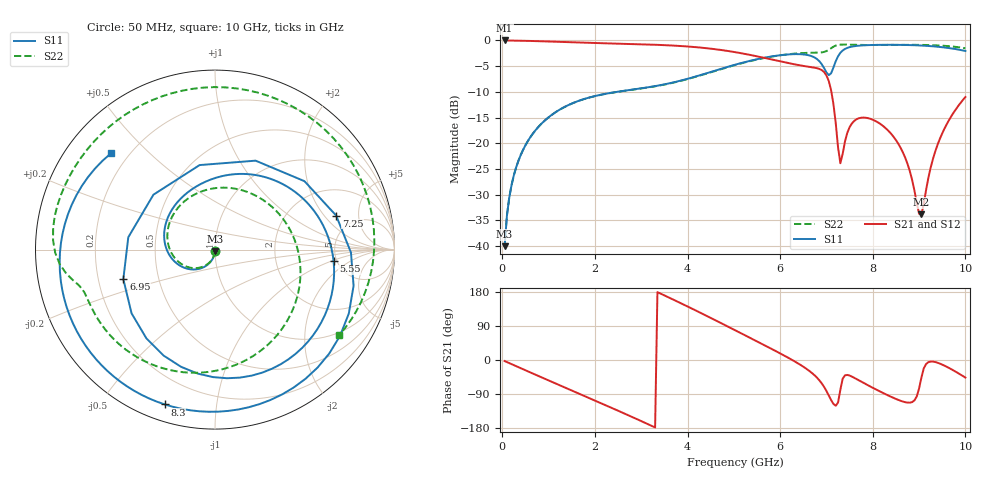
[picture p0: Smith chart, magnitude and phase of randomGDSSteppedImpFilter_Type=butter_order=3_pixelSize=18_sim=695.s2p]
! freq	dB(S11)	phase(S11)	dB(S12)	phase(S12)
!  dB(S21)	phase(S21)	dB(S22)	phase(S22)
!S-par simulation data
#  GHz  S  DB  R 50
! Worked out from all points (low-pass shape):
!   200 points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, 50 MHz to 10 GHz, reference 50 ohm
!   highest |S21| = 0.00 dB at 50 MHz (marker M1); lowest = -33.9 dB at 9.05 GHz (marker M2)
!   |S21| within 3 dB of the highest: start of sweep to 5.455 GHz
!   lowest |S11| = -40.0 dB at 50 MHz (marker M3), VSWR 1.02, Z = 50 - j0.996 ohm
!   |S11| at or under -10 dB: start of sweep to 2.478 GHz
!   |S22| runs from -40.0 to -0.8 dB; largest |S21 - S12| = 0
!   S11 on the Smith chart (normalised r, x): 50 MHz: 1.00, -0.02; 5.55 GHz: 4.69, -1.08; 6.95 GHz: 0.31, -0.14; 7.25 GHz: 3.59, +2.68; 8.3 GHz: 0.07, -0.72; 10 GHz: 0.14, +0.39
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0.05  -40.02 -92.0  -0.00 -2.8  -0.00 -2.8  -40.03 -92.2
0.2  -28.13 -100.6  -0.02 -10.9  -0.02 -10.9  -28.13 -101.4
0.5  -20.39 -116.7  -0.08 -27.1  -0.08 -27.1  -20.40 -118.7
1.75  -11.45 -179.3  -0.43 -93.7  -0.43 -93.7  -11.46 170.2
2.65  -9.77 139.4  -0.66 -141.9  -0.66 -141.9  -9.79 115.1
3.4  -8.72 106.8  -0.88 176.3  -0.88 176.3  -8.76 64.2
4.3  -6.69 65.0  -1.41 123.3  -1.41 123.3  -6.74 0.3
5.05  -4.67 24.2  -2.31 77.2  -2.31 77.2  -4.73 -50.6
5.55  -3.56 -5.6  -3.18 46.0  -3.18 46.0  -3.62 -82.7
6.2  -2.71 -48.5  -4.45 4.2  -4.45 4.2  -2.66 -122.9
6.7  -3.13 -98.0  -5.24 -35.7  -5.24 -35.7  -2.39 -152.1
6.95  -5.41 -162.1  -6.16 -71.2  -6.16 -71.2  -2.23 -163.8
7.1  -6.40 100.3  -9.68 -105.6  -9.68 -105.6  -1.52 -170.9
7.25  -3.08 15.7  -20.78 -112.2  -20.78 -112.2  -0.88 176.7
7.3  -2.41 -1.2  -23.89 -78.7  -23.89 -78.7  -0.82 172.4
7.6  -1.12 -55.0  -15.65 -47.0  -15.65 -47.0  -0.85 149.3
8.3  -0.85 -107.9  -17.25 -91.7  -17.25 -91.7  -0.87 97.9
8.35  -0.85 -110.9  -17.70 -94.6  -17.70 -94.6  -0.87 94.1
8.7  -0.88 -131.5  -22.81 -111.3  -22.81 -111.3  -0.85 66.9
9.05  -0.99 -152.5  -33.86 -46.6  -33.86 -46.6  -0.87 39.1
9.4  -1.22 -175.3  -20.27 -7.3  -20.27 -7.3  -0.97 11.2
10  -2.05 137.1  -11.01 -46.5  -11.01 -46.5  -1.52 -34.6
